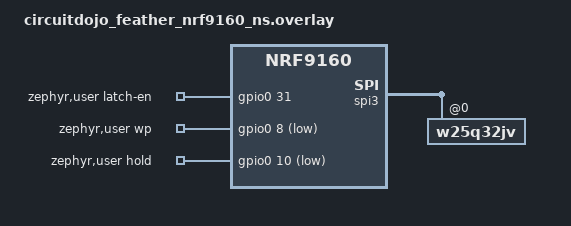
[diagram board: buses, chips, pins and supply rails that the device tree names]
/*
 * Copyright (c) 2020 Circuit Dojo LLC
 *
 * SPDX-License-Identifier: Apache-2.0
 */

/ {
    zephyr,user {
        latch-en-gpios = <&gpio0 31 GPIO_ACTIVE_HIGH>;
        wp-gpios = <&gpio0 8 GPIO_ACTIVE_LOW>;
        hold-gpios = <&gpio0 10 GPIO_ACTIVE_LOW>;
    };
};

&spi3 {
    w25q32jv: w25q32jv@0 {
        /delete-property/ wp-gpios;
        /delete-property/ hold-gpios;
        t-enter-dpd = <3500>;
        t-exit-dpd = <3500>;
    };
};
